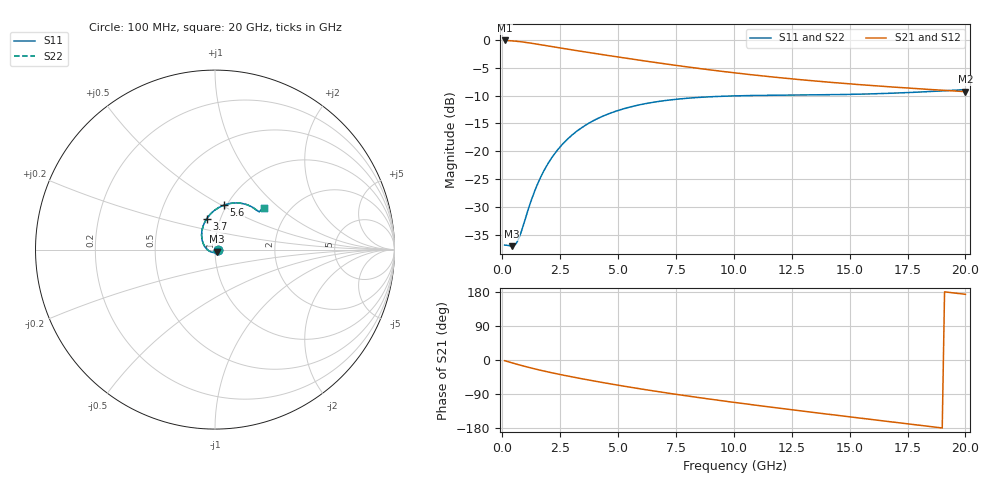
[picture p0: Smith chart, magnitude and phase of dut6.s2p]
! Touchstone file exported from HFSS 2024.1.0
!  File:  C:/UserFiles/LocalFiles/RDL_TSV_Batchsim/temp_RDL_TSV_6_1779396288.aedt
!  Generated:  05:00:14 AM May 22, 2026
!  Design:  RDL_TSV
!  Project:  temp_RDL_TSV_6_1779396288
!  Setup:  Setup1
!  Solution:  Sweep
! Variables:
!  dtsv = 13.36um
!  hbump = 3um
!  htsv = 87.99um
!  ldown = 141.39um
!  lrdl = 460.73um
!  p = 40
!  p1 = 50um
!  rhole = 10um
!  subl = 2267.09um
!  t = 450um
!  tdown = 2.23um
!  trdl = 3.99um
!  viad = 10um
!  wdown = 22.82um
!  wrdl = 14.58um
!  xbump = 18um
# GHz S MA R 50.000000
! Terminal data exported
! Port[1] = TM1_1_T1
! Port[2] = TM1_4_T1
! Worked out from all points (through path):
!   200 points, 100 MHz to 20 GHz, reference 50 ohm
!   highest |S21| = -0.13 dB at 100 MHz (marker M1); lowest = -9.3 dB at 20 GHz (marker M2)
!   group delay of S21, straight-line fit = 24.3 ps
!   lowest |S11| = -37.0 dB at 400 MHz (marker M3), VSWR 1.03, Z = 50.8 - j1.16 ohm
!   |S11| at or under -10 dB: start of sweep to 10.66 GHz
!   |S22| runs from -37.0 to -8.9 dB; largest |S21 - S12| = 1.7e-14
!   S11 on the Smith chart (normalised r, x): 100 MHz: 1.03, -0.01; 3.7 GHz: 0.86, +0.30; 5.6 GHz: 0.97, +0.51; 20 GHz: 1.49, +0.80
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0.1  0.0145 -11.4  0.9849 -1.8  0.9849 -1.8  0.0145 -11.4
! Gamma 0 0 0 0
! Port Impedance 50 0 50 0
0.4  0.01418 -53.8  0.9776 -7.2  0.9776 -7.2  0.01418 -53.8
0.6  0.01499 -88.9  0.9693 -10.7  0.9693 -10.7  0.01498 -88.9
0.7  0.01638 -106.5  0.9644 -12.4  0.9644 -12.4  0.01638 -106.5
1.2  0.03394 -167.6  0.9341 -20.4  0.9341 -20.4  0.03395 -167.6
1.4  0.0442 178.2  0.9203 -23.5  0.9203 -23.5  0.04421 178.1
1.7  0.06127 161.8  0.899 -27.8  0.899 -27.8  0.06128 161.8
2  0.07938 149.2  0.8778 -31.9  0.8778 -31.9  0.0794 149.1
2.3  0.0978 138.7  0.8572 -35.8  0.8572 -35.8  0.09782 138.7
2.7  0.122 127.2  0.8307 -40.8  0.8307 -40.8  0.122 127.1
3.5  0.1668 109.1  0.7816 -50.2  0.7816 -50.2  0.1668 109.1
3.7  0.177 105.4  0.7701 -52.5  0.7701 -52.5  0.1771 105.4
4.6  0.2175 91.1  0.7209 -62.3  0.7209 -62.3  0.2175 91.0
5.6  0.2521 78.8  0.671 -72.6  0.671 -72.6  0.2521 78.7
6.8  0.2811 67.5  0.6173 -84.1  0.6173 -84.1  0.2811 67.4
8.4  0.3036 56.6  0.5562 -98.4  0.5562 -98.4  0.3036 56.6
10.1  0.3144 48.9  0.5034 -112.6  0.5034 -112.6  0.3145 48.9
11.7  0.3183 44.4  0.4633 -125.2  0.4633 -125.2  0.3184 44.3
13.4  0.3205 41.7  0.429 -138.1  0.429 -138.1  0.3206 41.7
15  0.324 40.7  0.4025 -150.0  0.4025 -150.0  0.3241 40.6
16.7  0.3313 40.5  0.3791 -162.5  0.3791 -162.5  0.3313 40.4
20  0.3575 40.6  0.343 173.3  0.343 173.3  0.3575 40.5
